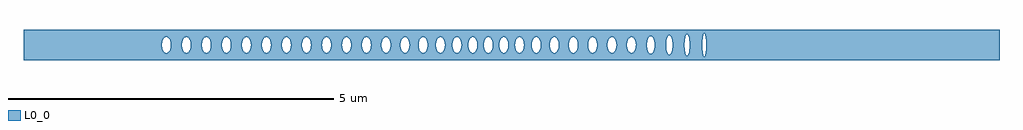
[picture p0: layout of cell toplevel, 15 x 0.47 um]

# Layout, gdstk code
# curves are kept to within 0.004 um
import gdstk
lib = gdstk.Library(unit=1e-6, precision=1e-09)
def P(c, l, *ps):  # polygons
    for p in ps: c.add(gdstk.Polygon(p, *l))
L0_0 = (0, 0)

toplevel = lib.new_cell('toplevel')
P(toplevel, L0_0, [(-4.759,0.016),(-4.746,0.073),(-4.746,0.235),(-7.5,0.235),(-7.5,-0.008),(-5.375,-0.008),(-5.373,0.031),(-5.359,0.079),(-5.338,0.109),(-5.309,0.124),(-5.278,0.115),(-5.253,0.085),(-5.237,0.038),(-5.235,-0.016),(-5.067,-0.016),(-5.064,0.038),(-5.054,0.073),(-5.031,0.109),(-5.001,0.124),(-4.975,0.118),(-4.952,0.096),(-4.935,0.06),(-4.926,0.008),(-4.931,-0.046),(-4.942,-0.079),(-4.963,-0.109),(-4.992,-0.124),(-5.019,-0.118),(-5.042,-0.096),(-5.061,-0.053),(-5.067,-0.016),(-5.235,-0.016),(-5.247,-0.073),(-5.26,-0.096),(-5.283,-0.118),(-5.309,-0.124),(-5.338,-0.109),(-5.356,-0.085),(-5.37,-0.046),(-5.375,-0.008),(-7.5,-0.008),(-7.5,-0.235),(-4.746,-0.235),(-4.746,-0.073),(-4.755,-0.046)],
  [(-4.737,0.09),(-4.723,0.109),(-4.694,0.124),(-4.676,0.122),(-4.655,0.109),(-4.627,0.06),(-4.619,-0.008),(-4.452,-0.008),(-4.447,0.046),(-4.43,0.09),(-4.403,0.118),(-4.386,0.124),(-4.368,0.122),(-4.347,0.109),(-4.324,0.073),(-4.314,0.038),(-4.311,-0.008),(-4.316,-0.046),(-4.336,-0.096),(-4.355,-0.115),(-4.377,-0.124),(-4.403,-0.118),(-4.43,-0.09),(-4.447,-0.046),(-4.452,-0.008),(-4.619,-0.008),(-4.625,-0.053),(-4.638,-0.085),(-4.655,-0.109),(-4.68,-0.123),(-4.702,-0.122),(-4.723,-0.109),(-4.746,-0.073),(-4.746,-0.235),(-4.061,-0.235),(-4.061,-0.122),(-4.096,-0.118),(-4.119,-0.096),(-4.131,-0.073),(-4.144,-0.016),(-4.141,0.038),(-4.119,0.096),(-4.096,0.118),(-4.061,0.122),(-4.061,0.235),(-4.746,0.235),(-4.746,0.073)],
  [(-4.061,0.235),(-4.061,0.122),(-4.036,0.105),(-4.019,0.079),(-4.008,0.046),(-4.003,0),(-3.837,0),(-3.832,0.046),(-3.817,0.085),(-3.8,0.109),(-3.77,0.124),(-3.744,0.118),(-3.721,0.096),(-3.704,0.06),(-3.696,0.016),(-3.699,-0.038),(-3.709,-0.073),(-3.732,-0.109),(-3.762,-0.124),(-3.788,-0.118),(-3.811,-0.096),(-3.832,-0.046),(-3.837,0),(-4.003,0),(-4.008,-0.046),(-4.019,-0.079),(-4.036,-0.105),(-4.061,-0.122),(-4.061,-0.235),(-3.399,-0.235),(-3.399,-0.067),(-3.424,-0.109),(-3.445,-0.122),(-3.472,-0.122),(-3.492,-0.109),(-3.51,-0.085),(-3.524,-0.046),(-3.529,-0.008),(-3.527,0.031),(-3.513,0.079),(-3.48,0.118),(-3.454,0.124),(-3.432,0.115),(-3.413,0.096),(-3.399,0.066),(-3.399,0.235)],
  [(-2.604,-0.235),(-2.604,0.235),(-3.399,0.235),(-3.399,0.065),(-3.39,0.031),(-3.388,-0.016),(-3.221,-0.016),(-3.218,0.038),(-3.208,0.073),(-3.185,0.109),(-3.155,0.124),(-3.129,0.118),(-3.102,0.09),(-3.085,0.046),(-3.08,0),(-2.914,0),(-2.909,0.046),(-2.894,0.085),(-2.877,0.109),(-2.847,0.124),(-2.821,0.118),(-2.798,0.096),(-2.781,0.06),(-2.773,0.016),(-2.775,-0.034),(-2.786,-0.073),(-2.809,-0.109),(-2.839,-0.124),(-2.865,-0.118),(-2.888,-0.096),(-2.909,-0.046),(-2.914,0),(-3.08,0),(-3.085,-0.046),(-3.099,-0.085),(-3.117,-0.109),(-3.146,-0.124),(-3.173,-0.118),(-3.196,-0.096),(-3.208,-0.073),(-3.221,-0.016),(-3.388,-0.016),(-3.399,-0.066),(-3.399,-0.235)],
  [(-1.998,0.016),(-1.986,0.073),(-1.963,0.109),(-1.963,0.235),(-2.604,0.235),(-2.604,0.031),(-2.59,0.079),(-2.577,0.1),(-2.557,0.118),(-2.531,0.124),(-2.501,0.109),(-2.484,0.085),(-2.468,0.038),(-2.465,-0.008),(-2.3,-0.008),(-2.295,0.046),(-2.281,0.085),(-2.251,0.118),(-2.225,0.124),(-2.207,0.118),(-2.184,0.096),(-2.167,0.06),(-2.159,0.016),(-2.162,-0.038),(-2.172,-0.073),(-2.195,-0.109),(-2.225,-0.124),(-2.251,-0.118),(-2.274,-0.096),(-2.291,-0.06),(-2.3,-0.008),(-2.465,-0.008),(-2.47,-0.046),(-2.49,-0.096),(-2.509,-0.115),(-2.531,-0.124),(-2.557,-0.118),(-2.577,-0.1),(-2.59,-0.079),(-2.604,-0.031),(-2.604,-0.235),(-1.963,-0.235),(-1.963,-0.109),(-1.986,-0.073),(-1.994,-0.046)],
  [(-1.95,0.118),(-1.933,0.124),(-1.915,0.122),(-1.884,0.096),(-1.863,0.046),(-1.858,-0.008),(-1.708,-0.008),(-1.705,0.038),(-1.686,0.09),(-1.659,0.118),(-1.642,0.124),(-1.624,0.122),(-1.6,0.105),(-1.583,0.079),(-1.569,0.031),(-1.567,-0.008),(-1.572,-0.046),(-1.586,-0.085),(-1.604,-0.109),(-1.633,-0.124),(-1.659,-0.118),(-1.686,-0.09),(-1.703,-0.046),(-1.708,-0.008),(-1.858,-0.008),(-1.869,-0.066),(-1.895,-0.109),(-1.924,-0.124),(-1.942,-0.122),(-1.963,-0.109),(-1.963,-0.235),(-1.317,-0.235),(-1.317,-0.1),(-1.337,-0.118),(-1.354,-0.124),(-1.385,-0.115),(-1.404,-0.096),(-1.416,-0.073),(-1.429,-0.016),(-1.42,0.06),(-1.393,0.109),(-1.372,0.122),(-1.354,0.124),(-1.337,0.118),(-1.317,0.1),(-1.317,0.235),(-1.963,0.235),(-1.963,0.109)],
  [(-1.29,-0.031),(-1.304,-0.079),(-1.317,-0.1),(-1.317,-0.235),(-0.769,-0.235),(-0.769,-0.019),(-0.777,-0.06),(-0.794,-0.096),(-0.817,-0.118),(-0.843,-0.124),(-0.861,-0.118),(-0.884,-0.096),(-0.901,-0.06),(-0.909,-0.016),(-0.906,0.038),(-0.896,0.073),(-0.877,0.105),(-0.848,0.123),(-0.821,0.12),(-0.794,0.096),(-0.777,0.06),(-0.769,0.016),(-0.769,0.235),(-1.317,0.235),(-1.317,0.1),(-1.293,0.046),(-1.289,-0.016),(-1.163,-0.016),(-1.16,0.038),(-1.15,0.073),(-1.127,0.109),(-1.097,0.124),(-1.071,0.118),(-1.048,0.096),(-1.033,0.066),(-1.023,0.023),(-1.024,-0.031),(-1.038,-0.079),(-1.059,-0.109),(-1.088,-0.124),(-1.114,-0.118),(-1.138,-0.096),(-1.15,-0.073),(-1.163,-0.016),(-1.289,-0.016)],
  [(-0.769,-0.235),(-0.17,-0.235),(-0.17,-0.085),(-0.189,-0.016),(-0.186,0.038),(-0.17,0.085),(-0.17,0.235),(-0.769,0.235),(-0.768,-0.008),(-0.665,-0.008),(-0.662,0.038),(-0.652,0.073),(-0.629,0.109),(-0.599,0.124),(-0.573,0.118),(-0.543,0.085),(-0.526,0.031),(-0.525,-0.016),(-0.426,-0.016),(-0.423,0.038),(-0.413,0.073),(-0.39,0.109),(-0.36,0.124),(-0.334,0.118),(-0.304,0.085),(-0.29,0.046),(-0.285,0),(-0.29,-0.046),(-0.304,-0.085),(-0.322,-0.109),(-0.351,-0.124),(-0.378,-0.118),(-0.401,-0.096),(-0.418,-0.06),(-0.426,-0.016),(-0.525,-0.016),(-0.533,-0.06),(-0.55,-0.096),(-0.573,-0.118),(-0.599,-0.124),(-0.629,-0.109),(-0.646,-0.085),(-0.662,-0.038),(-0.665,-0.008),(-0.768,-0.008)],
  [(-0.164,0.096),(-0.132,0.122),(-0.114,0.124),(-0.097,0.118),(-0.074,0.096),(-0.059,0.066),(-0.049,0.023),(-0.049,-0.016),(0.053,-0.016),(0.056,0.038),(0.078,0.096),(0.101,0.118),(0.136,0.122),(0.161,0.105),(0.178,0.079),(0.192,0.031),(0.194,-0.008),(0.189,-0.046),(0.175,-0.085),(0.157,-0.109),(0.128,-0.124),(0.101,-0.118),(0.078,-0.096),(0.064,-0.067),(0.053,-0.016),(-0.049,-0.016),(-0.067,-0.085),(-0.085,-0.109),(-0.105,-0.122),(-0.123,-0.124),(-0.14,-0.118),(-0.17,-0.085),(-0.17,-0.235),(0.389,-0.235),(0.389,-0.123),(0.358,-0.118),(0.335,-0.096),(0.318,-0.06),(0.31,-0.016),(0.316,0.053),(0.335,0.096),(0.358,0.118),(0.389,0.123),(0.389,0.235),(-0.17,0.235),(-0.17,0.085)],
  [(0.88,0.016),(0.898,0.085),(0.916,0.109),(0.936,0.122),(0.963,0.122),(0.984,0.109),(1.011,0.06),(1.011,0.235),(0.389,0.235),(0.389,0.123),(0.418,0.105),(0.437,0.073),(0.446,0.046),(0.45,-0.016),(0.587,-0.016),(0.59,0.038),(0.6,0.073),(0.623,0.109),(0.653,0.124),(0.679,0.118),(0.706,0.09),(0.723,0.046),(0.728,0.008),(0.726,-0.031),(0.712,-0.079),(0.691,-0.109),(0.662,-0.124),(0.636,-0.118),(0.612,-0.096),(0.6,-0.073),(0.587,-0.016),(0.45,-0.016),(0.442,-0.06),(0.425,-0.096),(0.389,-0.123),(0.389,-0.235),(1.011,-0.235),(1.011,-0.06),(0.995,-0.096),(0.976,-0.115),(0.954,-0.124),(0.928,-0.118),(0.905,-0.096),(0.89,-0.066),(0.88,-0.023)],
  [(1.019,-0.023),(1.011,-0.06),(1.011,-0.235),(1.782,-0.235),(1.782,-0.06),(1.773,-0.016),(1.782,0.059),(1.782,0.235),(1.011,0.235),(1.011,0.059),(1.02,-0.008),(1.176,-0.008),(1.178,0.031),(1.192,0.079),(1.213,0.109),(1.242,0.124),(1.277,0.112),(1.298,0.085),(1.314,0.038),(1.317,-0.008),(1.473,-0.008),(1.476,0.038),(1.499,0.096),(1.53,0.122),(1.548,0.124),(1.565,0.118),(1.598,0.079),(1.612,0.031),(1.614,-0.008),(1.598,-0.079),(1.581,-0.105),(1.557,-0.122),(1.53,-0.122),(1.499,-0.096),(1.482,-0.06),(1.473,-0.008),(1.317,-0.008),(1.314,-0.038),(1.298,-0.085),(1.277,-0.112),(1.251,-0.124),(1.225,-0.118),(1.198,-0.09),(1.181,-0.046),(1.176,-0.008),(1.02,-0.008)],
  [(1.784,0.066),(1.809,0.109),(1.83,0.122),(1.857,0.122),(1.881,0.105),(1.898,0.079),(1.912,0.031),(1.913,-0.009),(2.08,-0.009),(2.084,0.051),(2.099,0.101),(2.118,0.128),(2.144,0.138),(2.17,0.121),(2.185,0.095),(2.197,0.051),(2.201,-0.017),(2.185,-0.095),(2.17,-0.121),(2.144,-0.138),(2.118,-0.128),(2.099,-0.101),(2.084,-0.051),(2.08,-0.009),(1.913,-0.009),(1.909,-0.046),(1.895,-0.085),(1.877,-0.109),(1.848,-0.124),(1.83,-0.122),(1.809,-0.109),(1.782,-0.06),(1.782,-0.235),(2.444,-0.235),(2.444,-0.141),(2.422,-0.152),(2.398,-0.128),(2.381,-0.073),(2.375,-0.019),(2.378,0.056),(2.393,0.117),(2.404,0.138),(2.419,0.151),(2.432,0.151),(2.444,0.141),(2.444,0.235),(1.782,0.235)],
  [(2.475,-0.028),(2.465,-0.097),(2.444,-0.141),(2.444,-0.235),(7.5,-0.235),(7.5,0.235),(2.444,0.235),(2.444,0.141),(2.467,0.089),(2.476,-0.01),(2.657,-0.01),(2.668,0.114),(2.678,0.145),(2.696,0.166),(2.711,0.158),(2.728,0.114),(2.737,0.051),(2.737,-0.034),(2.932,-0.034),(2.933,0.056),(2.949,0.163),(2.961,0.18),(2.972,0.171),(2.989,0.096),(2.99,-0.087),(2.981,-0.146),(2.964,-0.18),(2.953,-0.171),(2.944,-0.146),(2.932,-0.034),(2.737,-0.034),(2.724,-0.128),(2.711,-0.158),(2.696,-0.166),(2.685,-0.158),(2.668,-0.114),(2.657,-0.01),(2.476,-0.01)])

lib.write_gds('toplevel.gds')
